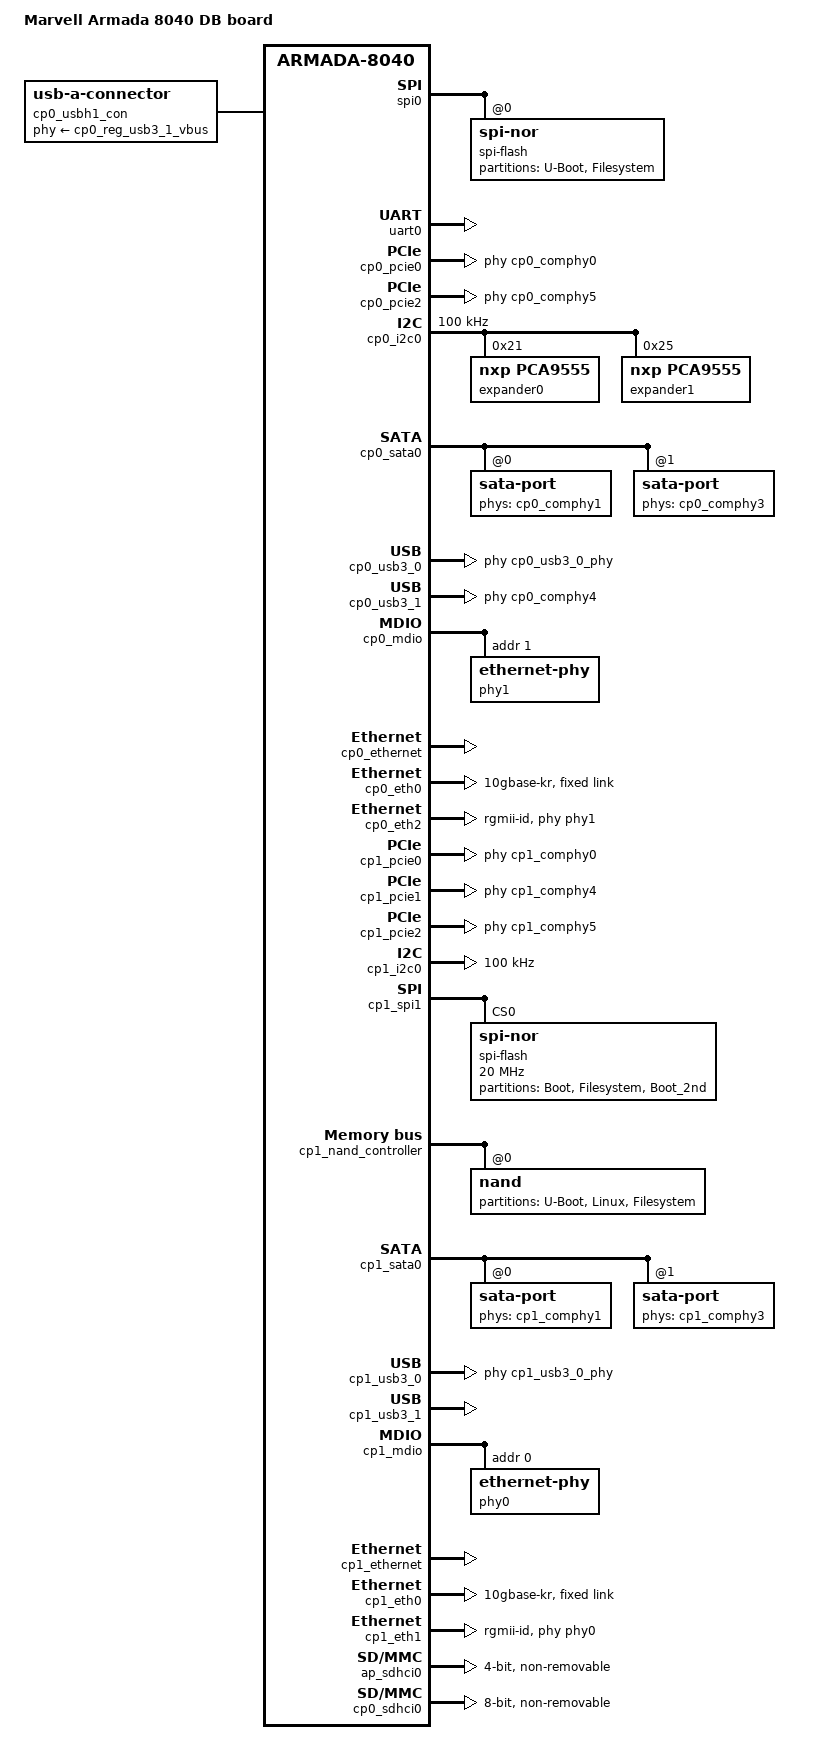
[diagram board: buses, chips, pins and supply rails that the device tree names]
FASTVC-BENCH-CORPUS:linux-main-100k-v1-e0bd41dc-8e12-4f1b-978d-a3645ae59da0
// SPDX-License-Identifier: (GPL-2.0+ OR MIT)
/*
 * Copyright (C) 2016 Marvell Technology Group Ltd.
 *
 * Device Tree file for Marvell Armada 8040 Development board platform
 */

#include <dt-bindings/gpio/gpio.h>
#include "armada-8040.dtsi"

/ {
	model = "Marvell Armada 8040 DB board";
	compatible = "marvell,armada8040-db", "marvell,armada8040",
		     "marvell,armada-ap806-quad", "marvell,armada-ap806";

	chosen {
		stdout-path = "serial0:115200n8";
	};

/* bench 19579.2.0 eacfdc0bc67a */
/* bench 19579.2.1 b514d6f42629 */
/* bench 19579.2.2 fc448e83fb10 */
/* bench 19579.2.3 322acb4d50c0 */
/* bench 19579.2.4 219e8f6fb3fb */
/* bench 19579.2.5 90fdde33d416 */
/* bench 19579.2.6 c34cb029ed88 */
/* bench 19579.2.7 796c9c772300 */
/* bench 19579.2.8 83fa45dfce58 */
		reg = <0x0 0x0 0x0 0x80000000>;
	};

	aliases {
		ethernet0 = &cp0_eth0;
		ethernet1 = &cp0_eth2;
		ethernet2 = &cp1_eth0;
		ethernet3 = &cp1_eth1;
		i2c1 = &cp0_i2c0;
		i2c2 = &cp1_i2c0;
	};

	cp0_reg_usb3_0_vbus: cp0-usb3-0-vbus {
		compatible = "regulator-fixed";
		regulator-name = "cp0-usb3h0-vbus";
		regulator-min-microvolt = <5000000>;
		regulator-max-microvolt = <5000000>;
		enable-active-high;
		gpio = <&expander0 0 GPIO_ACTIVE_HIGH>;
	};

	cp0_reg_usb3_1_vbus: cp0-usb3-1-vbus {
		compatible = "regulator-fixed";
		regulator-name = "cp0-usb3h1-vbus";
		regulator-min-microvolt = <5000000>;
		regulator-max-microvolt = <5000000>;
		enable-active-high;
		gpio = <&expander0 1 GPIO_ACTIVE_HIGH>;
	};

	cp0_usb3_0_phy: cp0-usb3-0-phy {
		compatible = "usb-nop-xceiv";
		vcc-supply = <&cp0_reg_usb3_0_vbus>;
	};

	cp1_reg_usb3_0_vbus: cp1-usb3-0-vbus {
		compatible = "regulator-fixed";
		regulator-name = "cp1-usb3h0-vbus";
		regulator-min-microvolt = <5000000>;
		regulator-max-microvolt = <5000000>;
		enable-active-high;
		gpio = <&expander1 0 GPIO_ACTIVE_HIGH>;
	};

	cp1_usb3_0_phy: cp1-usb3-0-phy {
		compatible = "usb-nop-xceiv";
		vcc-supply = <&cp1_reg_usb3_0_vbus>;
	};
};

&spi0 {
	status = "okay";

	spi-flash@0 {
		compatible = "jedec,spi-nor";
/* bench 23431.1.0 5e9002528027 */
/* bench 23431.1.1 dfa8c2bd0938 */
/* bench 23431.1.2 a30673d819d7 */

		partitions {
			compatible = "fixed-partitions";
			#address-cells = <1>;
			#size-cells = <1>;

			partition@0 {
				label = "U-Boot";
				reg = <0 0x200000>;
			};
			partition@400000 {
				label = "Filesystem";
				reg = <0x200000 0xce0000>;
			};
		};
	};
};

/* Accessible over the mini-USB CON9 connector on the main board */
&uart0 {
	status = "okay";
	pinctrl-0 = <&uart0_pins>;
	pinctrl-names = "default";
};

/* CON6 on CP0 expansion */
&cp0_pcie0 {
	phys = <&cp0_comphy0 0>;
	phy-names = "cp0-pcie0-x1-phy";
	status = "okay";
};

/* CON5 on CP0 expansion */
&cp0_pcie2 {
	phys = <&cp0_comphy5 2>;
	phy-names = "cp0-pcie2-x1-phy";
	status = "okay";
};

&cp0_i2c0 {
	status = "okay";
	clock-frequency = <100000>;

	/* U31 */
	expander0: pca9555@21 {
		compatible = "nxp,pca9555";
		pinctrl-names = "default";
		gpio-controller;
		#gpio-cells = <2>;
		reg = <0x21>;
	};

	/* U25 */
	expander1: pca9555@25 {
		compatible = "nxp,pca9555";
		pinctrl-names = "default";
		gpio-controller;
		#gpio-cells = <2>;
		reg = <0x25>;
	};

};

/* CON4 on CP0 expansion */
&cp0_sata0 {
	status = "okay";

	sata-port@0 {
		phys = <&cp0_comphy1 0>;
		phy-names = "cp0-sata0-0-phy";
	};
	sata-port@1 {
		phys = <&cp0_comphy3 1>;
		phy-names = "cp0-sata0-1-phy";
	};
};

/* CON9 on CP0 expansion */
&cp0_usb3_0 {
	usb-phy = <&cp0_usb3_0_phy>;
	status = "okay";
};

&cp0_comphy4 {
	cp0_usbh1_con: connector {
		compatible = "usb-a-connector";
		phy-supply = <&cp0_reg_usb3_1_vbus>;
	};
};

/* CON10 on CP0 expansion */
&cp0_usb3_1 {
	phys = <&cp0_comphy4 1>;
	phy-names = "cp0-usb3h1-comphy";
	status = "okay";
};

&cp0_mdio {
	status = "okay";

	phy1: ethernet-phy@1 {
		reg = <1>;
	};
};

&cp0_ethernet {
	status = "okay";
};

&cp0_eth0 {
	status = "okay";
	phy-mode = "10gbase-kr";

	fixed-link {
		speed = <10000>;
		full-duplex;
	};
};

&cp0_eth2 {
	status = "okay";
	phy = <&phy1>;
	phy-mode = "rgmii-id";
};

/* CON6 on CP1 expansion */
&cp1_pcie0 {
	phys = <&cp1_comphy0 0>;
	phy-names = "cp1-pcie0-x1-phy";
	status = "okay";
};

/* CON7 on CP1 expansion */
&cp1_pcie1 {
	phys = <&cp1_comphy4 1>;
	phy-names = "cp1-pcie1-x1-phy";
	status = "okay";
};

/* CON5 on CP1 expansion */
&cp1_pcie2 {
	phys = <&cp1_comphy5 2>;
	phy-names = "cp1-pcie2-x1-phy";
	status = "okay";
};

&cp1_i2c0 {
	status = "okay";
	clock-frequency = <100000>;
};

&cp1_spi1 {
	status = "okay";

	spi-flash@0 {
		compatible = "jedec,spi-nor";
		reg = <0x0>;
		spi-max-frequency = <20000000>;

		partitions {
			compatible = "fixed-partitions";
			#address-cells = <1>;
			#size-cells = <1>;

			partition@0 {
				label = "Boot";
				reg = <0x0 0x200000>;
			};
			partition@200000 {
				label = "Filesystem";
				reg = <0x200000 0xd00000>;
			};
			partition@f00000 {
				label = "Boot_2nd";
				reg = <0xf00000 0x100000>;
			};
		};
	};
};

/*
 * Proper NAND usage will require DPR-76 to be in position 1-2, which disables
 * MDIO signal of CP1.
 */
&cp1_nand_controller {
	pinctrl-0 = <&nand_pins>, <&nand_rb>;
	pinctrl-names = "default";

	nand@0 {
		reg = <0>;
		nand-rb = <0>;
		nand-on-flash-bbt;
		nand-ecc-strength = <4>;
		nand-ecc-step-size = <512>;

		partitions {
			compatible = "fixed-partitions";
			#address-cells = <1>;
			#size-cells = <1>;

			partition@0 {
				label = "U-Boot";
				reg = <0 0x200000>;
			};
			partition@200000 {
				label = "Linux";
				reg = <0x200000 0xe00000>;
			};
			partition@1000000 {
				label = "Filesystem";
				reg = <0x1000000 0x3f000000>;
			};
		};
	};
};

/* CON4 on CP1 expansion */
&cp1_sata0 {
	status = "okay";

	sata-port@0 {
		phys = <&cp1_comphy1 0>;
		phy-names = "cp1-sata0-0-phy";
	};
	sata-port@1 {
		phys = <&cp1_comphy3 1>;
		phy-names = "cp1-sata0-1-phy";
	};
};

/* CON9 on CP1 expansion */
&cp1_usb3_0 {
	usb-phy = <&cp1_usb3_0_phy>;
	status = "okay";
};

/* CON10 on CP1 expansion */
&cp1_usb3_1 {
	status = "okay";
};

&cp1_mdio {
	status = "okay";

	phy0: ethernet-phy@0 {
		reg = <0>;
	};
};

&cp1_ethernet {
	status = "okay";
};

&cp1_eth0 {
	status = "okay";
	phy-mode = "10gbase-kr";

	fixed-link {
		speed = <10000>;
		full-duplex;
	};
};

&cp1_eth1 {
	status = "okay";
	phy = <&phy0>;
	phy-mode = "rgmii-id";
};

&ap_sdhci0 {
	status = "okay";
	bus-width = <4>;
	non-removable;
};

&cp0_sdhci0 {
	status = "okay";
	bus-width = <8>;
	non-removable;
};
